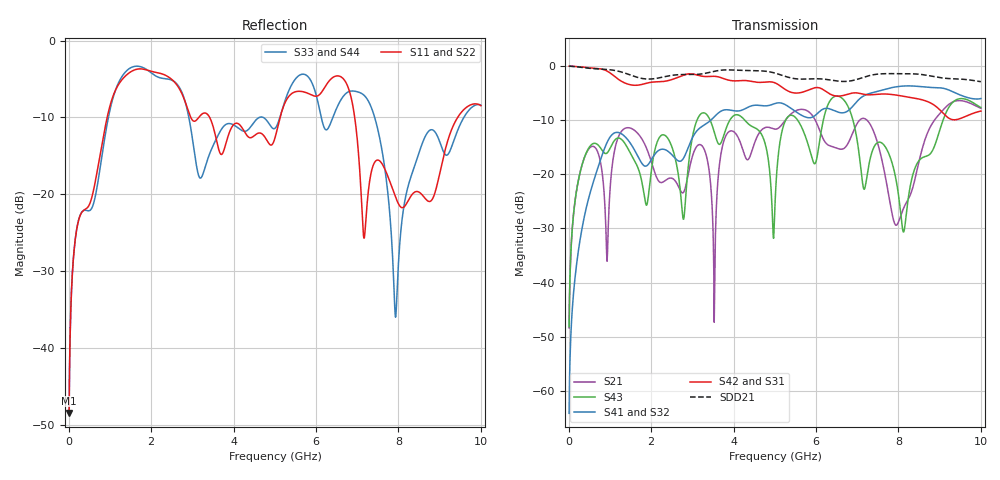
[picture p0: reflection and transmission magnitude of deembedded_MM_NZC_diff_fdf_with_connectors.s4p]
# GHz S MA R 50
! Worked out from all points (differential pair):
!   1000 points, 10 MHz to 10 GHz, reference 50 ohm
!   strongest paths, dB at 10 MHz, 2.51 GHz, 5.01 GHz, 7.51 GHz, 10 GHz:
!     S42: 0.0, -2.5, -3.1, -5.2, -8.3
!     S31: 0.0, -2.5, -3.1, -5.2, -8.3
!     S41: -64.2, -16.4, -6.9, -4.6, -6.0
!     S32: -64.2, -16.4, -6.9, -4.6, -6.0
!     S43: -48.2, -15.1, -24.7, -14.1, -7.6
!     S21: -48.4, -20.7, -11.6, -14.6, -7.8
!   taken as a pair (ports 2,1 in; 4,3 out), SDD21 dB: 0.0, -1.7, -1.3, -1.5, -2.9
!   lowest |S11| = -48.5 dB at 10 MHz (marker M1), VSWR 1.01, Z = 49.9 - j0.348 ohm
!   |S11| at or under -10 dB: start of sweep to 933.3 MHz; 3.419 GHz to 5.128 GHz (1.709 GHz wide, 40 % of centre); 6.939 GHz to 9.437 GHz (2.499 GHz wide, 30.5 % of centre)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
0.01  0.003779 -112.4  0.003809 107.5  0.9995 -1.4  0.0006191 -87.2
      0.003809 107.5  0.003779 -112.4  0.0006191 -87.2  0.9995 -1.4
      0.9995 -1.4  0.0006191 -87.2  0.003755 -72.5  0.003893 67.9
      0.0006191 -87.2  0.9995 -1.4  0.003893 67.9  0.003755 -72.5
1.08  0.4379 111.4  0.1413 74.5  0.8224 -156.0  0.2378 97.8
      0.1413 74.5  0.4379 111.4  0.2378 97.8  0.8224 -156.0
      0.8224 -156.0  0.2378 97.8  0.4283 103.1  0.1977 53.8
      0.2378 97.8  0.8224 -156.0  0.1977 53.8  0.4283 103.1
2.83  0.3963 -90.7  0.07553 142.6  0.8364 -3.5  0.1524 -88.3
      0.07553 142.6  0.3963 -90.7  0.1524 -88.3  0.8364 -3.5
      0.8364 -3.5  0.1524 -88.3  0.3962 -87.2  0.05608 126.0
      0.1524 -88.3  0.8364 -3.5  0.05608 126.0  0.3962 -87.2
4.06  0.2897 -35.6  0.2359 -20.4  0.731 -175.2  0.385 78.2
      0.2359 -20.4  0.2897 -35.6  0.385 78.2  0.731 -175.2
      0.731 -175.2  0.385 78.2  0.2759 164.3  0.3555 154.7
      0.385 78.2  0.731 -175.2  0.3555 154.7  0.2759 164.3
7.18  0.05381 -46.6  0.3275 82.5  0.5478 135.4  0.537 41.2
      0.3275 82.5  0.05381 -46.6  0.537 41.2  0.5478 135.4
      0.5478 135.4  0.537 41.2  0.4365 -82.3  0.07367 -96.4
      0.537 41.2  0.5478 135.4  0.07367 -96.4  0.4365 -82.3
7.93  0.0957 -151.2  0.03406 -77.0  0.5414 26.4  0.6429 -65.2
      0.03406 -77.0  0.0957 -151.2  0.6429 -65.2  0.5414 26.4
      0.5414 26.4  0.6429 -65.2  0.01584 -142.8  0.0941 -45.6
      0.6429 -65.2  0.5414 26.4  0.0941 -45.6  0.01584 -142.8
10  0.3767 11.5  0.4085 -57.3  0.3845 122.2  0.5022 14.7
    0.4085 -57.3  0.3767 11.5  0.5022 14.7  0.3845 122.2
    0.3845 122.2  0.5022 14.7  0.3795 10.3  0.4152 -57.5
    0.5022 14.7  0.3845 122.2  0.4152 -57.5  0.3795 10.3
